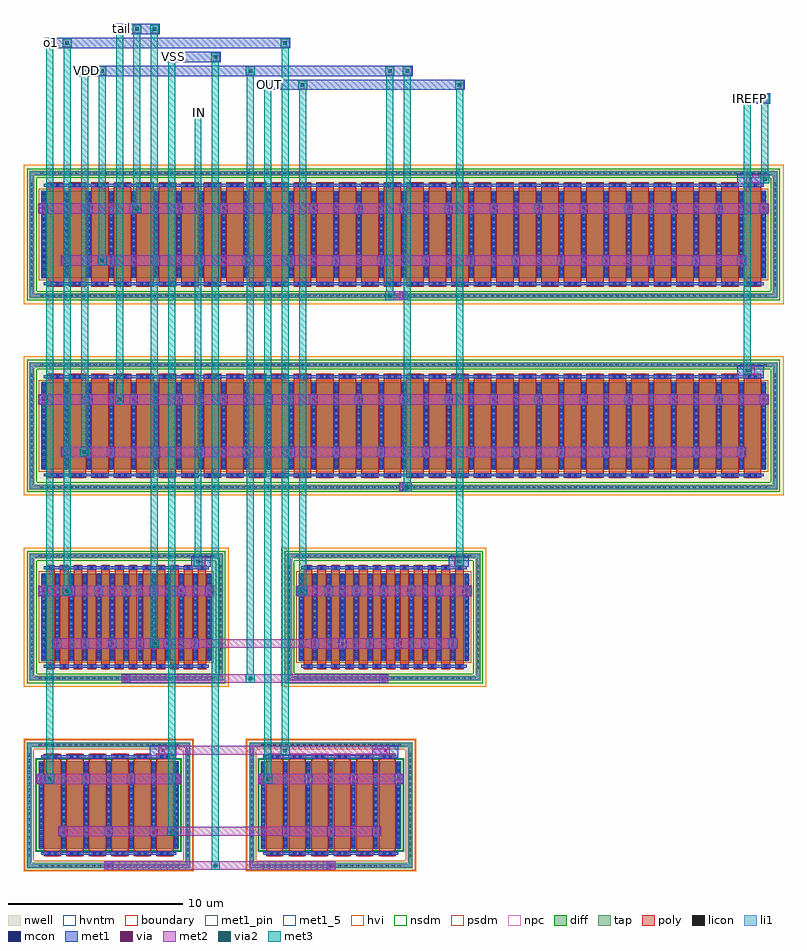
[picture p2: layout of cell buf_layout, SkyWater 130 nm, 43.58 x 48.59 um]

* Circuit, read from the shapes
.subckt buf_layout IN IREFP OUT VDD VSS o1 tail
XM1 VSS o1 o1 VSS sky130_fd_pr__nfet_g5v0d10v5 w=5 l=1 m=6
XM2 VSS o1 OUT VSS sky130_fd_pr__nfet_g5v0d10v5 w=5 l=1 m=6
XM3 tail IN o1 VDD sky130_fd_pr__pfet_g5v0d10v5 w=5 l=0.5 m=12
XM4 VDD IREFP tail VDD sky130_fd_pr__pfet_g5v0d10v5 w=5 l=1 m=64
XM5 tail OUT OUT VDD sky130_fd_pr__pfet_g5v0d10v5 w=5 l=0.5 m=12
.ends

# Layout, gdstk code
import gdstk
lib = gdstk.Library(unit=1e-6, precision=1e-09)
def R(c, l, rs):  # rectangles x0, y0, x1, y1
    for r in rs: c.add(gdstk.rectangle(r[:2], r[2:], *l))
def A(c, l, x, y, w, h, nx, ny, dx, dy):  # array of equal rectangles
    R(c, l, [(x+i*dx, y+j*dy, x+i*dx+w, y+j*dy+h) for i in range(nx) for j in range(ny)])
nwell = (64, 20)
diff = (65, 20)
tap = (65, 44)
poly = (66, 20)
licon = (66, 44)
li1 = (67, 20)
mcon = (67, 44)
met1_5 = (68, 5)
met1_pin = (68, 16)
met1 = (68, 20)
via = (68, 44)
met2 = (69, 20)
via2 = (69, 44)
met3 = (70, 20)
hvi = (75, 20)
nsdm = (93, 44)
psdm = (94, 20)
npc = (95, 20)
hvntm = (125, 20)
boundary = (235, 4)

sky130_fd_pr__pfet_g5v0d = lib.new_cell('sky130_fd_pr__pfet_g5v0d10v5_XPUM95')
R(sky130_fd_pr__pfet_g5v0d, nwell, [(-21.785,-3.985,21.785,3.985)])
R(sky130_fd_pr__pfet_g5v0d, diff, [(-20.785,-2.5,20.785,2.5)])
R(sky130_fd_pr__pfet_g5v0d, tap, [(-21.455,-3.655,21.455,-3.365), (-21.455,-3.365,-21.165,3.365), (21.165,-3.365,21.455,3.365), (-21.455,3.365,21.455,3.655)])
A(sky130_fd_pr__pfet_g5v0d, poly, -20.495, -2.985, 1, 5.97, 32, 1, 1.29, 0)
A(sky130_fd_pr__pfet_g5v0d, licon, -20.825, -3.595, 0.17, 0.17, 123, 2, 0.34, 7.02)
A(sky130_fd_pr__pfet_g5v0d, licon, -21.395, -2.975, 0.17, 0.17, 1, 18, 0, 0.34)
A(sky130_fd_pr__pfet_g5v0d, licon, 21.225, -2.975, 0.17, 0.17, 1, 18, 0, 0.34)
A(sky130_fd_pr__pfet_g5v0d, licon, -20.725, -2.295, 0.17, 0.17, 33, 14, 1.29, 0.34)
R(sky130_fd_pr__pfet_g5v0d, licon, [(-20.25,-2.905,-20.08,-2.735), (-19.91,-2.905,-19.74,-2.735), (-18.96,-2.905,-18.79,-2.735), (-18.62,-2.905,-18.45,-2.735), (-17.67,-2.905,-17.5,-2.735), (-17.33,-2.905,-17.16,-2.735), (-16.38,-2.905,-16.21,-2.735), (-16.04,-2.905,-15.87,-2.735), (-15.09,-2.905,-14.92,-2.735), (-14.75,-2.905,-14.58,-2.735), (-13.8,-2.905,-13.63,-2.735), (-13.46,-2.905,-13.29,-2.735), (-12.51,-2.905,-12.34,-2.735), (-12.17,-2.905,-12,-2.735), (-11.22,-2.905,-11.05,-2.735), (-10.88,-2.905,-10.71,-2.735), (-9.93,-2.905,-9.76,-2.735), (-9.59,-2.905,-9.42,-2.735), (-8.64,-2.905,-8.47,-2.735), (-8.3,-2.905,-8.13,-2.735), (-7.35,-2.905,-7.18,-2.735), (-7.01,-2.905,-6.84,-2.735), (-6.06,-2.905,-5.89,-2.735), (-5.72,-2.905,-5.55,-2.735), (-4.77,-2.905,-4.6,-2.735), (-4.43,-2.905,-4.26,-2.735), (-3.48,-2.905,-3.31,-2.735), (-3.14,-2.905,-2.97,-2.735), (-2.19,-2.905,-2.02,-2.735), (-1.85,-2.905,-1.68,-2.735), (-0.9,-2.905,-0.73,-2.735), (-0.56,-2.905,-0.39,-2.735), (0.39,-2.905,0.56,-2.735), (0.73,-2.905,0.9,-2.735), (1.68,-2.905,1.85,-2.735), (2.02,-2.905,2.19,-2.735), (2.97,-2.905,3.14,-2.735), (3.31,-2.905,3.48,-2.735), (4.26,-2.905,4.43,-2.735), (4.6,-2.905,4.77,-2.735), (5.55,-2.905,5.72,-2.735), (5.89,-2.905,6.06,-2.735), (6.84,-2.905,7.01,-2.735), (7.18,-2.905,7.35,-2.735), (8.13,-2.905,8.3,-2.735), (8.47,-2.905,8.64,-2.735), (9.42,-2.905,9.59,-2.735), (9.76,-2.905,9.93,-2.735), (10.71,-2.905,10.88,-2.735), (11.05,-2.905,11.22,-2.735), (12,-2.905,12.17,-2.735), (12.34,-2.905,12.51,-2.735), (13.29,-2.905,13.46,-2.735), (13.63,-2.905,13.8,-2.735), (14.58,-2.905,14.75,-2.735), (14.92,-2.905,15.09,-2.735), (15.87,-2.905,16.04,-2.735), (16.21,-2.905,16.38,-2.735), (17.16,-2.905,17.33,-2.735), (17.5,-2.905,17.67,-2.735), (18.45,-2.905,18.62,-2.735), (18.79,-2.905,18.96,-2.735), (19.74,-2.905,19.91,-2.735), (20.08,-2.905,20.25,-2.735), (-20.25,2.735,-20.08,2.905), (-19.91,2.735,-19.74,2.905), (-18.96,2.735,-18.79,2.905), (-18.62,2.735,-18.45,2.905), (-17.67,2.735,-17.5,2.905), (-17.33,2.735,-17.16,2.905), (-16.38,2.735,-16.21,2.905), (-16.04,2.735,-15.87,2.905), (-15.09,2.735,-14.92,2.905), (-14.75,2.735,-14.58,2.905), (-13.8,2.735,-13.63,2.905), (-13.46,2.735,-13.29,2.905), (-12.51,2.735,-12.34,2.905), (-12.17,2.735,-12,2.905), (-11.22,2.735,-11.05,2.905), (-10.88,2.735,-10.71,2.905), (-9.93,2.735,-9.76,2.905), (-9.59,2.735,-9.42,2.905), (-8.64,2.735,-8.47,2.905), (-8.3,2.735,-8.13,2.905), (-7.35,2.735,-7.18,2.905), (-7.01,2.735,-6.84,2.905), (-6.06,2.735,-5.89,2.905), (-5.72,2.735,-5.55,2.905), (-4.77,2.735,-4.6,2.905), (-4.43,2.735,-4.26,2.905), (-3.48,2.735,-3.31,2.905), (-3.14,2.735,-2.97,2.905), (-2.19,2.735,-2.02,2.905), (-1.85,2.735,-1.68,2.905), (-0.9,2.735,-0.73,2.905), (-0.56,2.735,-0.39,2.905), (0.39,2.735,0.56,2.905), (0.73,2.735,0.9,2.905), (1.68,2.735,1.85,2.905), (2.02,2.735,2.19,2.905), (2.97,2.735,3.14,2.905), (3.31,2.735,3.48,2.905), (4.26,2.735,4.43,2.905), (4.6,2.735,4.77,2.905), (5.55,2.735,5.72,2.905), (5.89,2.735,6.06,2.905), (6.84,2.735,7.01,2.905), (7.18,2.735,7.35,2.905), (8.13,2.735,8.3,2.905), (8.47,2.735,8.64,2.905), (9.42,2.735,9.59,2.905), (9.76,2.735,9.93,2.905), (10.71,2.735,10.88,2.905), (11.05,2.735,11.22,2.905), (12,2.735,12.17,2.905), (12.34,2.735,12.51,2.905), (13.29,2.735,13.46,2.905), (13.63,2.735,13.8,2.905), (14.58,2.735,14.75,2.905), (14.92,2.735,15.09,2.905), (15.87,2.735,16.04,2.905), (16.21,2.735,16.38,2.905), (17.16,2.735,17.33,2.905), (17.5,2.735,17.67,2.905), (18.45,2.735,18.62,2.905), (18.79,2.735,18.96,2.905), (19.74,2.735,19.91,2.905), (20.08,2.735,20.25,2.905)])
A(sky130_fd_pr__pfet_g5v0d, li1, -20.725, -2.52, 0.17, 5.04, 33, 1, 1.29, 0)
R(sky130_fd_pr__pfet_g5v0d, li1, [(-21.395,-3.595,21.395,-3.425), (-21.395,-3.425,-21.225,3.425), (21.225,-3.425,21.395,3.425), (-20.64,-2.905,20.64,-2.735), (-20.64,2.735,20.64,2.905), (-21.395,3.425,21.395,3.595)])
A(sky130_fd_pr__pfet_g5v0d, mcon, -20.725, -2.425, 0.17, 0.17, 33, 14, 1.29, 0.36)
R(sky130_fd_pr__pfet_g5v0d, mcon, [(-20.26,-2.905,-20.09,-2.735), (-19.9,-2.905,-19.73,-2.735), (-18.97,-2.905,-18.8,-2.735), (-18.61,-2.905,-18.44,-2.735), (-17.68,-2.905,-17.51,-2.735), (-17.32,-2.905,-17.15,-2.735), (-16.39,-2.905,-16.22,-2.735), (-16.03,-2.905,-15.86,-2.735), (-15.1,-2.905,-14.93,-2.735), (-14.74,-2.905,-14.57,-2.735), (-13.81,-2.905,-13.64,-2.735), (-13.45,-2.905,-13.28,-2.735), (-12.52,-2.905,-12.35,-2.735), (-12.16,-2.905,-11.99,-2.735), (-11.23,-2.905,-11.06,-2.735), (-10.87,-2.905,-10.7,-2.735), (-9.94,-2.905,-9.77,-2.735), (-9.58,-2.905,-9.41,-2.735), (-8.65,-2.905,-8.48,-2.735), (-8.29,-2.905,-8.12,-2.735), (-7.36,-2.905,-7.19,-2.735), (-7,-2.905,-6.83,-2.735), (-6.07,-2.905,-5.9,-2.735), (-5.71,-2.905,-5.54,-2.735), (-4.78,-2.905,-4.61,-2.735), (-4.42,-2.905,-4.25,-2.735), (-3.49,-2.905,-3.32,-2.735), (-3.13,-2.905,-2.96,-2.735), (-2.2,-2.905,-2.03,-2.735), (-1.84,-2.905,-1.67,-2.735), (-0.91,-2.905,-0.74,-2.735), (-0.55,-2.905,-0.38,-2.735), (0.38,-2.905,0.55,-2.735), (0.74,-2.905,0.91,-2.735), (1.67,-2.905,1.84,-2.735), (2.03,-2.905,2.2,-2.735), (2.96,-2.905,3.13,-2.735), (3.32,-2.905,3.49,-2.735), (4.25,-2.905,4.42,-2.735), (4.61,-2.905,4.78,-2.735), (5.54,-2.905,5.71,-2.735), (5.9,-2.905,6.07,-2.735), (6.83,-2.905,7,-2.735), (7.19,-2.905,7.36,-2.735), (8.12,-2.905,8.29,-2.735), (8.48,-2.905,8.65,-2.735), (9.41,-2.905,9.58,-2.735), (9.77,-2.905,9.94,-2.735), (10.7,-2.905,10.87,-2.735), (11.06,-2.905,11.23,-2.735), (11.99,-2.905,12.16,-2.735), (12.35,-2.905,12.52,-2.735), (13.28,-2.905,13.45,-2.735), (13.64,-2.905,13.81,-2.735), (14.57,-2.905,14.74,-2.735), (14.93,-2.905,15.1,-2.735), (15.86,-2.905,16.03,-2.735), (16.22,-2.905,16.39,-2.735), (17.15,-2.905,17.32,-2.735), (17.51,-2.905,17.68,-2.735), (18.44,-2.905,18.61,-2.735), (18.8,-2.905,18.97,-2.735), (19.73,-2.905,19.9,-2.735), (20.09,-2.905,20.26,-2.735), (-20.26,2.735,-20.09,2.905), (-19.9,2.735,-19.73,2.905), (-18.97,2.735,-18.8,2.905), (-18.61,2.735,-18.44,2.905), (-17.68,2.735,-17.51,2.905), (-17.32,2.735,-17.15,2.905), (-16.39,2.735,-16.22,2.905), (-16.03,2.735,-15.86,2.905), (-15.1,2.735,-14.93,2.905), (-14.74,2.735,-14.57,2.905), (-13.81,2.735,-13.64,2.905), (-13.45,2.735,-13.28,2.905), (-12.52,2.735,-12.35,2.905), (-12.16,2.735,-11.99,2.905), (-11.23,2.735,-11.06,2.905), (-10.87,2.735,-10.7,2.905), (-9.94,2.735,-9.77,2.905), (-9.58,2.735,-9.41,2.905), (-8.65,2.735,-8.48,2.905), (-8.29,2.735,-8.12,2.905), (-7.36,2.735,-7.19,2.905), (-7,2.735,-6.83,2.905), (-6.07,2.735,-5.9,2.905), (-5.71,2.735,-5.54,2.905), (-4.78,2.735,-4.61,2.905), (-4.42,2.735,-4.25,2.905), (-3.49,2.735,-3.32,2.905), (-3.13,2.735,-2.96,2.905), (-2.2,2.735,-2.03,2.905), (-1.84,2.735,-1.67,2.905), (-0.91,2.735,-0.74,2.905), (-0.55,2.735,-0.38,2.905), (0.38,2.735,0.55,2.905), (0.74,2.735,0.91,2.905), (1.67,2.735,1.84,2.905), (2.03,2.735,2.2,2.905), (2.96,2.735,3.13,2.905), (3.32,2.735,3.49,2.905), (4.25,2.735,4.42,2.905), (4.61,2.735,4.78,2.905), (5.54,2.735,5.71,2.905), (5.9,2.735,6.07,2.905), (6.83,2.735,7,2.905), (7.19,2.735,7.36,2.905), (8.12,2.735,8.29,2.905), (8.48,2.735,8.65,2.905), (9.41,2.735,9.58,2.905), (9.77,2.735,9.94,2.905), (10.7,2.735,10.87,2.905), (11.06,2.735,11.23,2.905), (11.99,2.735,12.16,2.905), (12.35,2.735,12.52,2.905), (13.28,2.735,13.45,2.905), (13.64,2.735,13.81,2.905), (14.57,2.735,14.74,2.905), (14.93,2.735,15.1,2.905), (15.86,2.735,16.03,2.905), (16.22,2.735,16.39,2.905), (17.15,2.735,17.32,2.905), (17.51,2.735,17.68,2.905), (18.44,2.735,18.61,2.905), (18.8,2.735,18.97,2.905), (19.73,2.735,19.9,2.905), (20.09,2.735,20.26,2.905)])
A(sky130_fd_pr__pfet_g5v0d, met1, -20.475, -2.935, 0.96, 0.03, 32, 2, 1.29, 0.2)
A(sky130_fd_pr__pfet_g5v0d, met1, -20.755, -2.5, 0.23, 5, 33, 1, 1.29, 0)
A(sky130_fd_pr__pfet_g5v0d, met1, -20.475, 2.705, 0.96, 0.03, 32, 2, 1.29, 0.2)
R(sky130_fd_pr__pfet_g5v0d, met1, [(-20.64,-2.905,20.64,-2.735), (-20.64,2.735,20.64,2.905)])
R(sky130_fd_pr__pfet_g5v0d, hvi, [(-21.785,-3.985,21.785,3.985)])
R(sky130_fd_pr__pfet_g5v0d, nsdm, [(-21.58,-3.78,21.58,-3.24), (-21.58,-3.24,-21.04,3.24), (21.04,-3.24,21.58,3.24), (-21.58,3.24,21.58,3.78)])
R(sky130_fd_pr__pfet_g5v0d, psdm, [(-20.91,-2.625,20.91,2.625)])
A(sky130_fd_pr__pfet_g5v0d, npc, -20.35, -3.005, 0.71, 0.37, 32, 2, 1.29, 5.64)
R(sky130_fd_pr__pfet_g5v0d, boundary, [(-21.31,-3.51,21.31,3.51)])
sky130_fd_pr__pfet_g5v0d.add(gdstk.Label('G', (19.995,2.82), layer=67, texttype=5))
sky130_fd_pr__pfet_g5v0d.add(gdstk.Label('G', (18.705,2.82), layer=67, texttype=5))
sky130_fd_pr__pfet_g5v0d.add(gdstk.Label('G', (17.415,2.82), layer=67, texttype=5))
sky130_fd_pr__pfet_g5v0d.add(gdstk.Label('G', (16.125,2.82), layer=67, texttype=5))
sky130_fd_pr__pfet_g5v0d.add(gdstk.Label('G', (14.835,2.82), layer=67, texttype=5))
sky130_fd_pr__pfet_g5v0d.add(gdstk.Label('G', (13.545,2.82), layer=67, texttype=5))
sky130_fd_pr__pfet_g5v0d.add(gdstk.Label('G', (12.255,2.82), layer=67, texttype=5))
sky130_fd_pr__pfet_g5v0d.add(gdstk.Label('G', (10.965,2.82), layer=67, texttype=5))
sky130_fd_pr__pfet_g5v0d.add(gdstk.Label('G', (9.675,2.82), layer=67, texttype=5))
sky130_fd_pr__pfet_g5v0d.add(gdstk.Label('G', (8.385,2.82), layer=67, texttype=5))
sky130_fd_pr__pfet_g5v0d.add(gdstk.Label('G', (7.095,2.82), layer=67, texttype=5))
sky130_fd_pr__pfet_g5v0d.add(gdstk.Label('G', (5.805,2.82), layer=67, texttype=5))
sky130_fd_pr__pfet_g5v0d.add(gdstk.Label('G', (4.515,2.82), layer=67, texttype=5))
sky130_fd_pr__pfet_g5v0d.add(gdstk.Label('G', (3.225,2.82), layer=67, texttype=5))
sky130_fd_pr__pfet_g5v0d.add(gdstk.Label('G', (1.935,2.82), layer=67, texttype=5))
sky130_fd_pr__pfet_g5v0d.add(gdstk.Label('G', (0.645,2.82), layer=67, texttype=5))
sky130_fd_pr__pfet_g5v0d.add(gdstk.Label('G', (-0.645,2.82), layer=67, texttype=5))
sky130_fd_pr__pfet_g5v0d.add(gdstk.Label('G', (-1.935,2.82), layer=67, texttype=5))
sky130_fd_pr__pfet_g5v0d.add(gdstk.Label('G', (-3.225,2.82), layer=67, texttype=5))
sky130_fd_pr__pfet_g5v0d.add(gdstk.Label('G', (-4.515,2.82), layer=67, texttype=5))
sky130_fd_pr__pfet_g5v0d.add(gdstk.Label('G', (-5.805,2.82), layer=67, texttype=5))
sky130_fd_pr__pfet_g5v0d.add(gdstk.Label('G', (-7.095,2.82), layer=67, texttype=5))
sky130_fd_pr__pfet_g5v0d.add(gdstk.Label('G', (-8.385,2.82), layer=67, texttype=5))
sky130_fd_pr__pfet_g5v0d.add(gdstk.Label('G', (-9.675,2.82), layer=67, texttype=5))
sky130_fd_pr__pfet_g5v0d.add(gdstk.Label('G', (-10.965,2.82), layer=67, texttype=5))
sky130_fd_pr__pfet_g5v0d.add(gdstk.Label('G', (-12.255,2.82), layer=67, texttype=5))
sky130_fd_pr__pfet_g5v0d.add(gdstk.Label('G', (-13.545,2.82), layer=67, texttype=5))
sky130_fd_pr__pfet_g5v0d.add(gdstk.Label('G', (-14.835,2.82), layer=67, texttype=5))
sky130_fd_pr__pfet_g5v0d.add(gdstk.Label('G', (-16.125,2.82), layer=67, texttype=5))
sky130_fd_pr__pfet_g5v0d.add(gdstk.Label('G', (-17.415,2.82), layer=67, texttype=5))
sky130_fd_pr__pfet_g5v0d.add(gdstk.Label('G', (-18.705,2.82), layer=67, texttype=5))
sky130_fd_pr__pfet_g5v0d.add(gdstk.Label('G', (-19.995,2.82), layer=67, texttype=5))
sky130_fd_pr__pfet_g5v0d.add(gdstk.Label('B', (0,-3.51), layer=67, texttype=5))
sky130_fd_pr__pfet_g5v0d.add(gdstk.Label('D0', (-20.64,0), layer=67, texttype=5))
sky130_fd_pr__pfet_g5v0d.add(gdstk.Label('S1', (-19.35,0), layer=67, texttype=5))
sky130_fd_pr__pfet_g5v0d.add(gdstk.Label('D2', (-18.06,0), layer=67, texttype=5))
sky130_fd_pr__pfet_g5v0d.add(gdstk.Label('S3', (-16.77,0), layer=67, texttype=5))
sky130_fd_pr__pfet_g5v0d.add(gdstk.Label('D4', (-15.48,0), layer=67, texttype=5))
sky130_fd_pr__pfet_g5v0d.add(gdstk.Label('S5', (-14.19,0), layer=67, texttype=5))
sky130_fd_pr__pfet_g5v0d.add(gdstk.Label('D6', (-12.9,0), layer=67, texttype=5))
sky130_fd_pr__pfet_g5v0d.add(gdstk.Label('S7', (-11.61,0), layer=67, texttype=5))
sky130_fd_pr__pfet_g5v0d.add(gdstk.Label('D8', (-10.32,0), layer=67, texttype=5))
sky130_fd_pr__pfet_g5v0d.add(gdstk.Label('S9', (-9.03,0), layer=67, texttype=5))
sky130_fd_pr__pfet_g5v0d.add(gdstk.Label('D10', (-7.74,0), layer=67, texttype=5))
sky130_fd_pr__pfet_g5v0d.add(gdstk.Label('S11', (-6.45,0), layer=67, texttype=5))
sky130_fd_pr__pfet_g5v0d.add(gdstk.Label('D12', (-5.16,0), layer=67, texttype=5))
sky130_fd_pr__pfet_g5v0d.add(gdstk.Label('S13', (-3.87,0), layer=67, texttype=5))
sky130_fd_pr__pfet_g5v0d.add(gdstk.Label('D14', (-2.58,0), layer=67, texttype=5))
sky130_fd_pr__pfet_g5v0d.add(gdstk.Label('S15', (-1.29,0), layer=67, texttype=5))
sky130_fd_pr__pfet_g5v0d.add(gdstk.Label('D16', (0,0), layer=67, texttype=5))
sky130_fd_pr__pfet_g5v0d.add(gdstk.Label('S17', (1.29,0), layer=67, texttype=5))
sky130_fd_pr__pfet_g5v0d.add(gdstk.Label('D18', (2.58,0), layer=67, texttype=5))
sky130_fd_pr__pfet_g5v0d.add(gdstk.Label('S19', (3.87,0), layer=67, texttype=5))
sky130_fd_pr__pfet_g5v0d.add(gdstk.Label('D20', (5.16,0), layer=67, texttype=5))
sky130_fd_pr__pfet_g5v0d.add(gdstk.Label('S21', (6.45,0), layer=67, texttype=5))
sky130_fd_pr__pfet_g5v0d.add(gdstk.Label('D22', (7.74,0), layer=67, texttype=5))
sky130_fd_pr__pfet_g5v0d.add(gdstk.Label('S23', (9.03,0), layer=67, texttype=5))
sky130_fd_pr__pfet_g5v0d.add(gdstk.Label('D24', (10.32,0), layer=67, texttype=5))
sky130_fd_pr__pfet_g5v0d.add(gdstk.Label('S25', (11.61,0), layer=67, texttype=5))
sky130_fd_pr__pfet_g5v0d.add(gdstk.Label('D26', (12.9,0), layer=67, texttype=5))
sky130_fd_pr__pfet_g5v0d.add(gdstk.Label('S27', (14.19,0), layer=67, texttype=5))
sky130_fd_pr__pfet_g5v0d.add(gdstk.Label('D28', (15.48,0), layer=67, texttype=5))
sky130_fd_pr__pfet_g5v0d.add(gdstk.Label('S29', (16.77,0), layer=67, texttype=5))
sky130_fd_pr__pfet_g5v0d.add(gdstk.Label('D30', (18.06,0), layer=67, texttype=5))
sky130_fd_pr__pfet_g5v0d.add(gdstk.Label('S31', (19.35,0), layer=67, texttype=5))

sky130_fd_pr__nfet_g5v0d = lib.new_cell('sky130_fd_pr__nfet_g5v0d10v5_TL5NXE')
R(sky130_fd_pr__nfet_g5v0d, diff, [(-4.015,-2.5,4.015,2.5)])
R(sky130_fd_pr__nfet_g5v0d, tap, [(-4.695,-3.61,4.695,-3.32), (-4.695,-3.32,-4.405,3.32), (4.405,-3.32,4.695,3.32), (-4.695,3.32,4.695,3.61)])
A(sky130_fd_pr__nfet_g5v0d, poly, -3.725, -2.94, 1, 5.88, 6, 1, 1.29, 0)
A(sky130_fd_pr__nfet_g5v0d, licon, -3.995, -3.55, 0.17, 0.17, 24, 2, 0.34, 6.93)
A(sky130_fd_pr__nfet_g5v0d, licon, -4.635, -2.975, 0.17, 0.17, 1, 18, 0, 0.34)
A(sky130_fd_pr__nfet_g5v0d, licon, 4.465, -2.975, 0.17, 0.17, 1, 18, 0, 0.34)
A(sky130_fd_pr__nfet_g5v0d, licon, -3.955, -2.295, 0.17, 0.17, 7, 14, 1.29, 0.34)
R(sky130_fd_pr__nfet_g5v0d, licon, [(-3.48,-2.86,-3.31,-2.69), (-3.14,-2.86,-2.97,-2.69), (-2.19,-2.86,-2.02,-2.69), (-1.85,-2.86,-1.68,-2.69), (-0.9,-2.86,-0.73,-2.69), (-0.56,-2.86,-0.39,-2.69), (0.39,-2.86,0.56,-2.69), (0.73,-2.86,0.9,-2.69), (1.68,-2.86,1.85,-2.69), (2.02,-2.86,2.19,-2.69), (2.97,-2.86,3.14,-2.69), (3.31,-2.86,3.48,-2.69), (-3.48,2.69,-3.31,2.86), (-3.14,2.69,-2.97,2.86), (-2.19,2.69,-2.02,2.86), (-1.85,2.69,-1.68,2.86), (-0.9,2.69,-0.73,2.86), (-0.56,2.69,-0.39,2.86), (0.39,2.69,0.56,2.86), (0.73,2.69,0.9,2.86), (1.68,2.69,1.85,2.86), (2.02,2.69,2.19,2.86), (2.97,2.69,3.14,2.86), (3.31,2.69,3.48,2.86)])
A(sky130_fd_pr__nfet_g5v0d, li1, -3.955, -2.52, 0.17, 5.04, 7, 1, 1.29, 0)
R(sky130_fd_pr__nfet_g5v0d, li1, [(-4.635,-3.55,4.635,-3.38), (-4.635,-3.38,-4.465,3.38), (4.465,-3.38,4.635,3.38), (-3.87,-2.86,3.87,-2.69), (-3.87,2.69,3.87,2.86), (-4.635,3.38,4.635,3.55)])
A(sky130_fd_pr__nfet_g5v0d, mcon, -3.955, -2.425, 0.17, 0.17, 7, 14, 1.29, 0.36)
R(sky130_fd_pr__nfet_g5v0d, mcon, [(-3.49,-2.86,-3.32,-2.69), (-3.13,-2.86,-2.96,-2.69), (-2.2,-2.86,-2.03,-2.69), (-1.84,-2.86,-1.67,-2.69), (-0.91,-2.86,-0.74,-2.69), (-0.55,-2.86,-0.38,-2.69), (0.38,-2.86,0.55,-2.69), (0.74,-2.86,0.91,-2.69), (1.67,-2.86,1.84,-2.69), (2.03,-2.86,2.2,-2.69), (2.96,-2.86,3.13,-2.69), (3.32,-2.86,3.49,-2.69), (-3.49,2.69,-3.32,2.86), (-3.13,2.69,-2.96,2.86), (-2.2,2.69,-2.03,2.86), (-1.84,2.69,-1.67,2.86), (-0.91,2.69,-0.74,2.86), (-0.55,2.69,-0.38,2.86), (0.38,2.69,0.55,2.86), (0.74,2.69,0.91,2.86), (1.67,2.69,1.84,2.86), (2.03,2.69,2.2,2.86), (2.96,2.69,3.13,2.86), (3.32,2.69,3.49,2.86)])
A(sky130_fd_pr__nfet_g5v0d, met1, -3.705, -2.89, 0.96, 0.03, 6, 2, 1.29, 0.2)
A(sky130_fd_pr__nfet_g5v0d, met1, -3.985, -2.5, 0.23, 5, 7, 1, 1.29, 0)
A(sky130_fd_pr__nfet_g5v0d, met1, -3.705, 2.66, 0.96, 0.03, 6, 2, 1.29, 0.2)
R(sky130_fd_pr__nfet_g5v0d, met1, [(-3.87,-2.86,3.87,-2.69), (-3.87,2.69,3.87,2.86)])
R(sky130_fd_pr__nfet_g5v0d, hvi, [(-4.88,-3.795,4.88,3.795)])
R(sky130_fd_pr__nfet_g5v0d, nsdm, [(-4.14,-2.625,4.14,2.625)])
R(sky130_fd_pr__nfet_g5v0d, psdm, [(-4.82,-3.735,4.82,-3.195), (-4.82,-3.195,-4.28,3.195), (4.28,-3.195,4.82,3.195), (-4.82,3.195,4.82,3.735)])
A(sky130_fd_pr__nfet_g5v0d, npc, -3.58, -2.96, 0.71, 0.37, 6, 2, 1.29, 5.55)
R(sky130_fd_pr__nfet_g5v0d, hvntm, [(-4.2,-2.685,4.2,2.685)])
R(sky130_fd_pr__nfet_g5v0d, boundary, [(-4.55,-3.465,4.55,3.465)])
sky130_fd_pr__nfet_g5v0d.add(gdstk.Label('G', (3.225,2.775), layer=67, texttype=5))
sky130_fd_pr__nfet_g5v0d.add(gdstk.Label('G', (1.935,2.775), layer=67, texttype=5))
sky130_fd_pr__nfet_g5v0d.add(gdstk.Label('G', (0.645,2.775), layer=67, texttype=5))
sky130_fd_pr__nfet_g5v0d.add(gdstk.Label('G', (-0.645,2.775), layer=67, texttype=5))
sky130_fd_pr__nfet_g5v0d.add(gdstk.Label('G', (-1.935,2.775), layer=67, texttype=5))
sky130_fd_pr__nfet_g5v0d.add(gdstk.Label('G', (-3.225,2.775), layer=67, texttype=5))
sky130_fd_pr__nfet_g5v0d.add(gdstk.Label('B', (0,-3.465), layer=67, texttype=5))
sky130_fd_pr__nfet_g5v0d.add(gdstk.Label('D0', (-3.87,0), layer=67, texttype=5))
sky130_fd_pr__nfet_g5v0d.add(gdstk.Label('S1', (-2.58,0), layer=67, texttype=5))
sky130_fd_pr__nfet_g5v0d.add(gdstk.Label('D2', (-1.29,0), layer=67, texttype=5))
sky130_fd_pr__nfet_g5v0d.add(gdstk.Label('S3', (0,0), layer=67, texttype=5))
sky130_fd_pr__nfet_g5v0d.add(gdstk.Label('D4', (1.29,0), layer=67, texttype=5))
sky130_fd_pr__nfet_g5v0d.add(gdstk.Label('S5', (2.58,0), layer=67, texttype=5))

c_sky130_fd_pr__pfet_g5v0d = lib.new_cell('sky130_fd_pr__pfet_g5v0d10v5_9889FF')
R(c_sky130_fd_pr__pfet_g5v0d, nwell, [(-5.885,-3.985,5.885,3.985)])
R(c_sky130_fd_pr__pfet_g5v0d, diff, [(-4.885,-2.5,4.885,2.5)])
R(c_sky130_fd_pr__pfet_g5v0d, tap, [(-5.555,-3.655,5.555,-3.365), (-5.555,-3.365,-5.265,3.365), (5.265,-3.365,5.555,3.365), (-5.555,3.365,5.555,3.655)])
A(c_sky130_fd_pr__pfet_g5v0d, poly, -4.595, -2.985, 0.5, 5.97, 12, 1, 0.79, 0)
A(c_sky130_fd_pr__pfet_g5v0d, licon, -5.015, -3.595, 0.17, 0.17, 30, 2, 0.34, 7.02)
A(c_sky130_fd_pr__pfet_g5v0d, licon, -5.495, -2.975, 0.17, 0.17, 1, 18, 0, 0.34)
A(c_sky130_fd_pr__pfet_g5v0d, licon, 5.325, -2.975, 0.17, 0.17, 1, 18, 0, 0.34)
A(c_sky130_fd_pr__pfet_g5v0d, licon, -4.43, -2.905, 0.17, 0.17, 12, 2, 0.79, 5.64)
A(c_sky130_fd_pr__pfet_g5v0d, licon, -4.825, -2.295, 0.17, 0.17, 13, 14, 0.79, 0.34)
A(c_sky130_fd_pr__pfet_g5v0d, li1, -4.825, -2.52, 0.17, 5.04, 13, 1, 0.79, 0)
R(c_sky130_fd_pr__pfet_g5v0d, li1, [(-5.495,-3.595,5.495,-3.425), (-5.495,-3.425,-5.325,3.425), (5.325,-3.425,5.495,3.425), (-4.74,-2.905,4.74,-2.735), (-4.74,2.735,4.74,2.905), (-5.495,3.425,5.495,3.595)])
A(c_sky130_fd_pr__pfet_g5v0d, mcon, -4.43, -2.905, 0.17, 0.17, 12, 2, 0.79, 5.64)
A(c_sky130_fd_pr__pfet_g5v0d, mcon, -4.825, -2.425, 0.17, 0.17, 13, 14, 0.79, 0.36)
A(c_sky130_fd_pr__pfet_g5v0d, met1, -4.575, -2.935, 0.46, 0.03, 12, 2, 0.79, 0.2)
A(c_sky130_fd_pr__pfet_g5v0d, met1, -4.855, -2.5, 0.23, 5, 13, 1, 0.79, 0)
A(c_sky130_fd_pr__pfet_g5v0d, met1, -4.575, 2.705, 0.46, 0.03, 12, 2, 0.79, 0.2)
R(c_sky130_fd_pr__pfet_g5v0d, met1, [(-4.74,-2.905,4.74,-2.735), (-4.74,2.735,4.74,2.905)])
R(c_sky130_fd_pr__pfet_g5v0d, hvi, [(-5.885,-3.985,5.885,3.985)])
R(c_sky130_fd_pr__pfet_g5v0d, nsdm, [(-5.68,-3.78,5.68,-3.24), (-5.68,-3.24,-5.14,3.24), (5.14,-3.24,5.68,3.24), (-5.68,3.24,5.68,3.78)])
R(c_sky130_fd_pr__pfet_g5v0d, psdm, [(-5.01,-2.625,5.01,2.625)])
A(c_sky130_fd_pr__pfet_g5v0d, npc, -4.53, -3.005, 0.37, 0.37, 12, 2, 0.79, 5.64)
R(c_sky130_fd_pr__pfet_g5v0d, boundary, [(-5.41,-3.51,5.41,3.51)])
c_sky130_fd_pr__pfet_g5v0d.add(gdstk.Label('G', (4.345,2.82), layer=67, texttype=5))
c_sky130_fd_pr__pfet_g5v0d.add(gdstk.Label('G', (3.555,2.82), layer=67, texttype=5))
c_sky130_fd_pr__pfet_g5v0d.add(gdstk.Label('G', (2.765,2.82), layer=67, texttype=5))
c_sky130_fd_pr__pfet_g5v0d.add(gdstk.Label('G', (1.975,2.82), layer=67, texttype=5))
c_sky130_fd_pr__pfet_g5v0d.add(gdstk.Label('G', (1.185,2.82), layer=67, texttype=5))
c_sky130_fd_pr__pfet_g5v0d.add(gdstk.Label('G', (0.395,2.82), layer=67, texttype=5))
c_sky130_fd_pr__pfet_g5v0d.add(gdstk.Label('G', (-0.395,2.82), layer=67, texttype=5))
c_sky130_fd_pr__pfet_g5v0d.add(gdstk.Label('G', (-1.185,2.82), layer=67, texttype=5))
c_sky130_fd_pr__pfet_g5v0d.add(gdstk.Label('G', (-1.975,2.82), layer=67, texttype=5))
c_sky130_fd_pr__pfet_g5v0d.add(gdstk.Label('G', (-2.765,2.82), layer=67, texttype=5))
c_sky130_fd_pr__pfet_g5v0d.add(gdstk.Label('G', (-3.555,2.82), layer=67, texttype=5))
c_sky130_fd_pr__pfet_g5v0d.add(gdstk.Label('G', (-4.345,2.82), layer=67, texttype=5))
c_sky130_fd_pr__pfet_g5v0d.add(gdstk.Label('B', (0,-3.51), layer=67, texttype=5))
c_sky130_fd_pr__pfet_g5v0d.add(gdstk.Label('D0', (-4.74,0), layer=67, texttype=5))
c_sky130_fd_pr__pfet_g5v0d.add(gdstk.Label('S1', (-3.95,0), layer=67, texttype=5))
c_sky130_fd_pr__pfet_g5v0d.add(gdstk.Label('D2', (-3.16,0), layer=67, texttype=5))
c_sky130_fd_pr__pfet_g5v0d.add(gdstk.Label('S3', (-2.37,0), layer=67, texttype=5))
c_sky130_fd_pr__pfet_g5v0d.add(gdstk.Label('D4', (-1.58,0), layer=67, texttype=5))
c_sky130_fd_pr__pfet_g5v0d.add(gdstk.Label('S5', (-0.79,0), layer=67, texttype=5))
c_sky130_fd_pr__pfet_g5v0d.add(gdstk.Label('D6', (0,0), layer=67, texttype=5))
c_sky130_fd_pr__pfet_g5v0d.add(gdstk.Label('S7', (0.79,0), layer=67, texttype=5))
c_sky130_fd_pr__pfet_g5v0d.add(gdstk.Label('D8', (1.58,0), layer=67, texttype=5))
c_sky130_fd_pr__pfet_g5v0d.add(gdstk.Label('S9', (2.37,0), layer=67, texttype=5))
c_sky130_fd_pr__pfet_g5v0d.add(gdstk.Label('D10', (3.16,0), layer=67, texttype=5))
c_sky130_fd_pr__pfet_g5v0d.add(gdstk.Label('S11', (3.95,0), layer=67, texttype=5))

buf_layout = lib.new_cell('buf_layout')
R(buf_layout, li1, [(4.705,0.155,5.045,0.495), (17.455,0.155,17.795,0.495), (5.715,10.885,6.055,11.225), (20.485,10.885,20.825,11.225), (21.615,21.855,21.955,22.195), (21.615,32.825,21.955,33.165)])
R(buf_layout, mcon, [(4.79,0.24,4.96,0.41), (17.54,0.24,17.71,0.41), (5.8,10.97,5.97,11.14), (20.57,10.97,20.74,11.14), (21.7,21.94,21.87,22.11), (21.7,32.91,21.87,33.08)])
R(buf_layout, met1_5, [(1.5,47.29,1.7,47.69), (5.5,48.09,5.7,48.49)])
R(buf_layout, met1_pin, [(10,43.29,10.2,43.69), (41.5,44.09,41.7,44.49), (14,44.89,14.2,45.29), (3.5,45.69,3.7,46.09), (8.5,46.49,8.7,46.89)])
A(buf_layout, met1, 2.045, 2.04, 0.5, 0.5, 3, 1, 2.58, 0)
A(buf_layout, met1, 14.795, 2.04, 0.5, 0.5, 3, 1, 2.58, 0)
A(buf_layout, met1, 0.755, 5.04, 0.5, 0.5, 4, 1, 2.58, 0)
A(buf_layout, met1, 13.505, 5.04, 0.5, 0.5, 4, 1, 2.58, 0)
A(buf_layout, met1, 1.685, 12.815, 0.5, 0.5, 6, 1, 1.58, 0)
A(buf_layout, met1, 16.455, 12.815, 0.5, 0.5, 6, 1, 1.58, 0)
A(buf_layout, met1, 0.895, 15.815, 0.5, 0.5, 7, 1, 1.58, 0)
A(buf_layout, met1, 15.665, 15.815, 0.5, 0.5, 7, 1, 1.58, 0)
A(buf_layout, met1, 2.185, 23.785, 0.5, 0.5, 16, 2, 2.58, 10.97)
A(buf_layout, met1, 0.895, 26.785, 0.5, 0.5, 17, 2, 2.58, 10.97)
R(buf_layout, met1, [(4.625,0.075,5.125,0.575), (17.375,0.075,17.875,0.575), (7.23,6.63,8.745,7.23), (19.98,6.63,21.495,7.23), (5.635,10.805,6.135,11.305), (20.405,10.805,20.905,11.305), (9.61,17.45,10.74,18.05), (24.38,17.45,25.51,18.05), (21.535,21.775,22.035,22.275), (40.91,28.42,42.425,29.02), (21.535,32.745,22.035,33.245), (40.91,39.39,42.425,39.99), (9.7,43.19,10.3,43.79), (41.2,43.99,42.8,44.59), (13.7,44.79,25.3,45.39), (3.2,45.59,22.3,46.19), (8.2,46.39,11.3,46.99), (1.2,47.19,15.3,47.79), (5.2,47.99,7.8,48.59)])
A(buf_layout, via, 2.22, 2.215, 0.15, 0.15, 3, 1, 2.58, 0)
A(buf_layout, via, 14.97, 2.215, 0.15, 0.15, 3, 1, 2.58, 0)
A(buf_layout, via, 0.93, 5.215, 0.15, 0.15, 4, 1, 2.58, 0)
A(buf_layout, via, 13.68, 5.215, 0.15, 0.15, 4, 1, 2.58, 0)
A(buf_layout, via, 1.86, 12.99, 0.15, 0.15, 6, 1, 1.58, 0)
A(buf_layout, via, 16.63, 12.99, 0.15, 0.15, 6, 1, 1.58, 0)
A(buf_layout, via, 1.07, 15.99, 0.15, 0.15, 7, 1, 1.58, 0)
A(buf_layout, via, 15.84, 15.99, 0.15, 0.15, 7, 1, 1.58, 0)
A(buf_layout, via, 2.36, 23.96, 0.15, 0.15, 16, 2, 2.58, 10.97)
A(buf_layout, via, 1.07, 26.96, 0.15, 0.15, 17, 2, 2.58, 10.97)
A(buf_layout, via, 5.425, 48.215, 0.15, 0.15, 3, 1, 1, 0)
R(buf_layout, via, [(4.8,0.25,4.95,0.4), (17.55,0.25,17.7,0.4), (7.915,6.855,8.065,7.005), (20.665,6.855,20.815,7.005), (5.81,10.98,5.96,11.13), (20.58,10.98,20.73,11.13), (10.1,17.675,10.25,17.825), (24.87,17.675,25.02,17.825), (21.71,21.95,21.86,22.1), (41.595,28.645,41.745,28.795), (21.71,32.92,21.86,33.07), (41.595,39.615,41.745,39.765), (9.925,43.415,10.075,43.565), (41.425,44.215,41.575,44.365), (42.425,44.215,42.575,44.365), (13.925,45.015,14.075,45.165), (15.925,45.015,16.075,45.165), (24.925,45.015,25.075,45.165), (3.425,45.815,3.575,45.965), (4.425,45.815,4.575,45.965), (12.925,45.815,13.075,45.965), (20.925,45.815,21.075,45.965), (21.925,45.815,22.075,45.965), (8.425,46.615,8.575,46.765), (10.925,46.615,11.075,46.765), (1.425,47.415,1.575,47.565), (2.425,47.415,2.575,47.565), (14.925,47.415,15.075,47.565)])
A(buf_layout, met2, 5.25, 48.04, 0.5, 0.5, 3, 1, 1, 0)
R(buf_layout, met2, [(4.625,0.075,5.125,0.08), (17.375,0.075,17.875,0.08), (4.625,0.08,17.875,0.58), (1.995,1.99,7.755,2.04), (14.745,1.99,20.505,2.04), (1.995,2.04,20.505,2.54), (1.995,2.54,7.755,2.59), (14.745,2.54,20.505,2.59), (0.705,4.99,9.045,5.59), (13.455,4.99,21.795,5.59), (7.74,6.68,20.99,7.18), (5.635,10.8,20.905,11.3), (5.635,11.3,6.135,11.305), (20.405,11.3,20.905,11.305), (1.635,12.765,10.135,12.81), (16.405,12.765,24.905,12.81), (1.635,12.81,24.905,13.31), (1.635,13.31,10.135,13.365), (16.405,13.31,24.905,13.365), (0.845,15.765,10.925,16.365), (15.615,15.765,25.695,16.365), (9.75,17.5,10.425,18), (24.695,17.5,25.25,18), (21.535,21.775,22.25,22.275), (2.135,23.735,41.435,24.335), (0.845,26.735,42.725,27.335), (41.25,28.47,41.92,28.97), (20.75,32.745,22.035,33.245), (2.135,34.705,41.435,35.305), (0.845,37.705,42.725,38.305), (41.42,39.44,42.75,39.94), (9.75,43.24,10.25,43.74), (41.25,44.04,41.75,44.54), (42.25,44.04,42.75,44.54), (13.75,44.84,14.25,45.34), (15.75,44.84,16.25,45.34), (24.75,44.84,25.25,45.34), (3.25,45.64,3.75,46.14), (4.25,45.64,4.75,46.14), (12.75,45.64,13.25,46.14), (20.75,45.64,21.25,46.14), (21.75,45.64,22.25,46.14), (8.25,46.44,8.75,46.94), (10.75,46.44,11.25,46.94), (1.25,47.24,1.75,47.74), (2.25,47.24,2.75,47.74), (14.75,47.24,15.25,47.74)])
A(buf_layout, via2, 5.4, 48.19, 0.2, 0.2, 3, 1, 1, 0)
R(buf_layout, via2, [(10.9,0.23,11.1,0.43), (8.4,2.19,8.6,2.39), (1.4,5.19,1.6,5.39), (13.9,5.19,14.1,5.39), (14.9,6.83,15.1,7.03), (12.9,10.95,13.1,11.15), (7.4,12.96,7.6,13.16), (2.4,15.965,2.6,16.165), (15.9,15.965,16.1,16.165), (9.9,17.65,10.1,17.85), (24.9,17.65,25.1,17.85), (21.9,21.925,22.1,22.125), (3.4,23.935,3.6,24.135), (5.4,26.935,5.6,27.135), (41.4,28.62,41.6,28.82), (20.9,32.895,21.1,33.095), (4.4,34.905,4.6,35.105), (6.4,37.905,6.6,38.105), (42.4,39.59,42.6,39.79), (9.9,43.39,10.1,43.59), (41.4,44.19,41.6,44.39), (42.4,44.19,42.6,44.39), (13.9,44.99,14.1,45.19), (15.9,44.99,16.1,45.19), (24.9,44.99,25.1,45.19), (3.4,45.79,3.6,45.99), (4.4,45.79,4.6,45.99), (12.9,45.79,13.1,45.99), (20.9,45.79,21.1,45.99), (21.9,45.79,22.1,45.99), (8.4,46.59,8.6,46.79), (10.9,46.59,11.1,46.79), (1.4,47.39,1.6,47.59), (2.4,47.39,2.6,47.59), (14.9,47.39,15.1,47.59)])
A(buf_layout, met3, 5.25, 48.04, 0.5, 0.5, 3, 1, 1, 0)
R(buf_layout, met3, [(10.75,0.08,11.25,0.58), (10.8,0.58,11.2,46.44), (8.25,2.04,8.75,2.54), (8.3,2.54,8.7,46.44), (1.25,5.04,1.75,5.54), (13.75,5.04,14.25,5.54), (1.3,5.54,1.7,47.24), (13.8,5.54,14.2,44.84), (14.75,6.68,15.25,7.18), (14.8,7.18,15.2,47.24), (12.75,10.8,13.25,11.3), (12.8,11.3,13.2,45.64), (7.25,12.81,7.75,13.31), (7.3,13.31,7.7,48.04), (2.25,15.815,2.75,16.315), (15.75,15.815,16.25,16.315), (2.3,16.315,2.7,47.24), (15.8,16.315,16.2,44.84), (9.75,17.5,10.25,18), (24.75,17.5,25.25,18), (9.8,18,10.2,43.24), (24.8,18,25.2,44.84), (21.75,21.775,22.25,22.275), (21.8,22.275,22.2,45.64), (3.25,23.785,3.75,24.285), (3.3,24.285,3.7,45.64), (5.25,26.785,5.75,27.285), (5.3,27.285,5.7,48.04), (41.25,28.47,41.75,28.97), (41.3,28.97,41.7,44.04), (20.75,32.745,21.25,33.245), (20.8,33.245,21.2,45.64), (4.25,34.755,4.75,35.255), (4.3,35.255,4.7,45.64), (6.25,37.755,6.75,38.255), (6.3,38.255,6.7,48.04), (42.25,39.44,42.75,39.94), (42.3,39.94,42.7,44.04), (9.75,43.24,10.25,43.74), (41.25,44.04,41.75,44.54), (42.25,44.04,42.75,44.54), (13.75,44.84,14.25,45.34), (15.75,44.84,16.25,45.34), (24.75,44.84,25.25,45.34), (3.25,45.64,3.75,46.14), (4.25,45.64,4.75,46.14), (12.75,45.64,13.25,46.14), (20.75,45.64,21.25,46.14), (21.75,45.64,22.25,46.14), (8.25,46.44,8.75,46.94), (10.75,46.44,11.25,46.94), (1.25,47.24,1.75,47.74), (2.25,47.24,2.75,47.74), (14.75,47.24,15.25,47.74)])
buf_layout.add(gdstk.Reference(sky130_fd_pr__pfet_g5v0d, (21.785,36.505)))
buf_layout.add(gdstk.Reference(sky130_fd_pr__pfet_g5v0d, (21.785,25.535)))
buf_layout.add(gdstk.Reference(sky130_fd_pr__nfet_g5v0d, (17.625,3.79)))
buf_layout.add(gdstk.Reference(sky130_fd_pr__nfet_g5v0d, (4.875,3.79)))
buf_layout.add(gdstk.Reference(c_sky130_fd_pr__pfet_g5v0d, (20.655,14.565)))
buf_layout.add(gdstk.Reference(c_sky130_fd_pr__pfet_g5v0d, (5.885,14.565)))
buf_layout.add(gdstk.Label('o1', (1.6,47.49), layer=68, texttype=5))
buf_layout.add(gdstk.Label('tail', (5.6,48.29), layer=68, texttype=5))
buf_layout.add(gdstk.Label('OUT', (14.1,45.09), layer=68, texttype=5))
buf_layout.add(gdstk.Label('IREFP', (41.6,44.29), layer=68, texttype=5))
buf_layout.add(gdstk.Label('VDD', (3.6,45.89), layer=68, texttype=5))
buf_layout.add(gdstk.Label('IN', (10.1,43.49), layer=68, texttype=5))
buf_layout.add(gdstk.Label('VSS', (8.6,46.69), layer=68, texttype=5))

lib.write_gds('buf_layout.gds')
